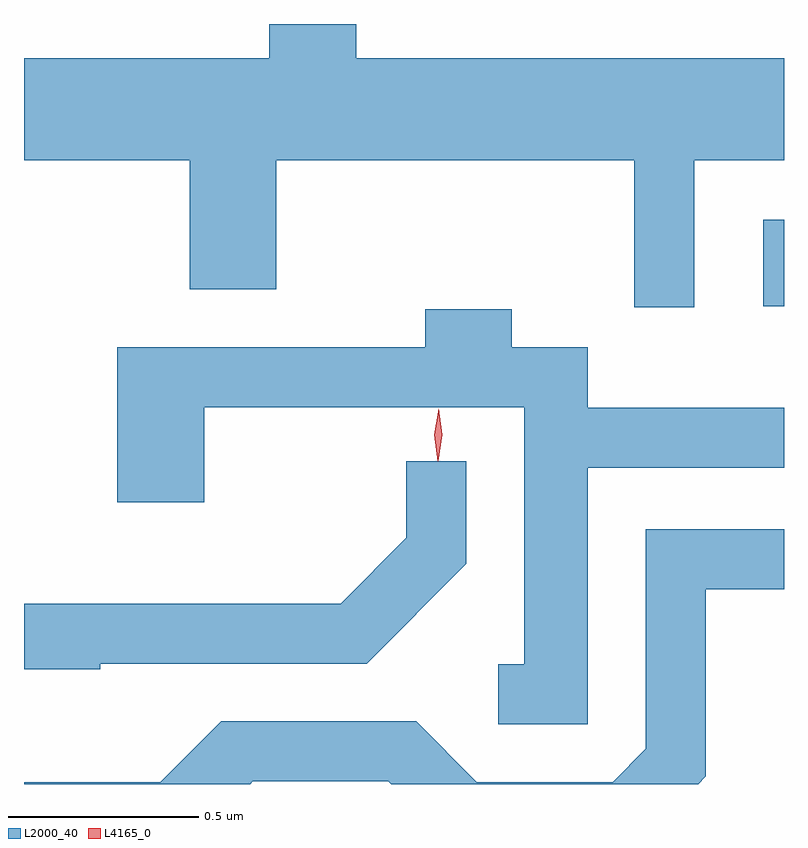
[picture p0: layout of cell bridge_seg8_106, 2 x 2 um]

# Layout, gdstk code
import gdstk
lib = gdstk.Library(unit=1e-6, precision=1e-09)
def R(c, l, rs):  # rectangles x0, y0, x1, y1
    for r in rs: c.add(gdstk.rectangle(r[:2], r[2:], *l))
def P(c, l, *ps):  # polygons
    for p in ps: c.add(gdstk.Polygon(p, *l))
L2000_40 = (2000, 40)
L4165_0 = (4165, 0)

bridge_seg8_106 = lib.new_cell('bridge_seg8_106')
R(bridge_seg8_106, L2000_40, [(1588.711,1813.831,1588.765,1814.059)])
P(bridge_seg8_106, L2000_40, [(1588.529,1814.216),(1588.765,1814.216),(1588.765,1814.484),(1587.639,1814.484),(1587.639,1814.574),(1587.411,1814.574),(1587.411,1814.484),(1586.765,1814.484),(1586.765,1814.216),(1587.201,1814.216),(1587.201,1813.876),(1587.429,1813.876),(1587.429,1814.216),(1588.371,1814.216),(1588.371,1813.828),(1588.529,1813.828)],
  [(1588.249,1813.406),(1588.765,1813.406),(1588.765,1813.564),(1588.249,1813.564),(1588.249,1813.724),(1588.049,1813.724),(1588.049,1813.824),(1587.821,1813.824),(1587.821,1813.724),(1587.011,1813.724),(1587.011,1813.316),(1587.239,1813.316),(1587.239,1813.566),(1588.081,1813.566),(1588.081,1812.889),(1588.013,1812.889),(1588.013,1812.731),(1588.249,1812.731)],
  [(1586.965,1812.891),(1587.667,1812.891),(1587.929,1813.154),(1587.929,1813.423),(1587.771,1813.423),(1587.771,1813.222),(1587.599,1813.049),(1586.765,1813.049),(1586.765,1812.876),(1586.965,1812.876)],
  [(1587.367,1812.581),(1587.724,1812.581),(1587.731,1812.574),(1588.539,1812.574),(1588.559,1812.594),(1588.559,1813.086),(1588.765,1813.086),(1588.765,1813.244),(1588.401,1813.244),(1588.401,1812.667),(1588.314,1812.579),(1587.957,1812.579),(1587.797,1812.739),(1587.284,1812.739),(1587.124,1812.579),(1586.765,1812.579),(1586.765,1812.574),(1587.36,1812.574)])
P(bridge_seg8_106, L4165_0, [(1587.854,1813.423),(1587.854,1813.424),(1587.845,1813.493),(1587.856,1813.562),(1587.856,1813.562),(1587.856,1813.562),(1587.865,1813.493),(1587.855,1813.424)])

lib.write_gds('bridge_seg8_106.gds')
